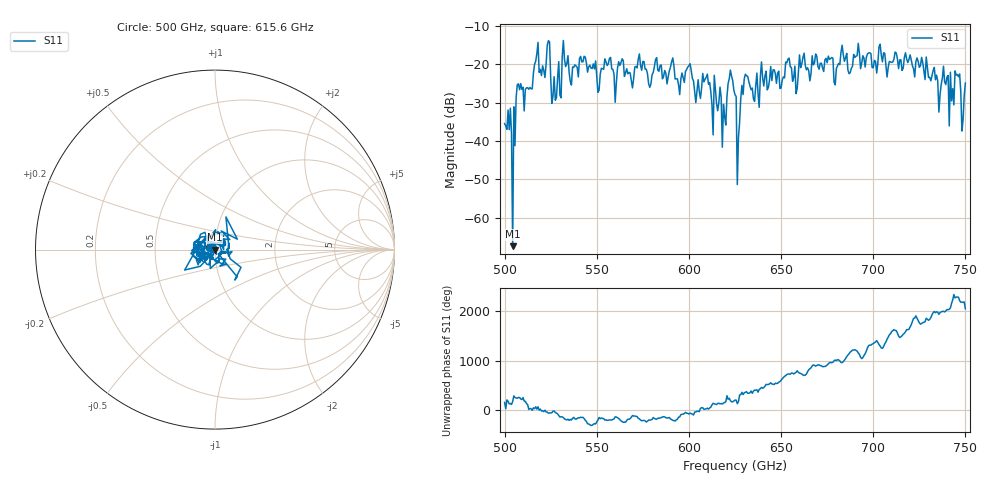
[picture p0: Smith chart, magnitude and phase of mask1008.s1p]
!Created with skrf (http://scikit-rf.org).
# GHz S MA R 50.0
!freq magS11 angS11
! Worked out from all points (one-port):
!   401 points, 500 GHz to 750 GHz, reference 50 ohm
!   lowest |S11| = -67.4 dB at 504.4 GHz (marker M1), VSWR 1.00, Z = 50 + j0.00096 ohm
!   |S11| at or under -10 dB: start of sweep to end of sweep
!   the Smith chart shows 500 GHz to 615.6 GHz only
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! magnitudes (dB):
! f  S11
! 500 GHz  -35.5
! 502.5 GHz  -37.0
! 504.4 GHz  -67.4
! 507.5 GHz  -25.1
! 513.8 GHz  -26.1
! 516.9 GHz  -19.2
! 520.6 GHz  -20.4
! 523.8 GHz  -13.9
! 526.9 GHz  -23.3
! 531.2 GHz  -18.2
! 562.5 GHz  -20.3
! 578.8 GHz  -26.0
! 590.6 GHz  -19.4
! 593.8 GHz  -23.8
! 608.8 GHz  -23.9
! 618.8 GHz  -30.5
! 622.5 GHz  -21.5
! 625 GHz  -27.9
! 627.5 GHz  -35.1
! 631.2 GHz  -23.0
! 635 GHz  -29.0
! 656.2 GHz  -24.4
! 680 GHz  -21.1
! 683.8 GHz  -17.5
! 687.5 GHz  -22.2
! 690.6 GHz  -17.9
! 718.8 GHz  -19.6
! 750 GHz  -24.9
